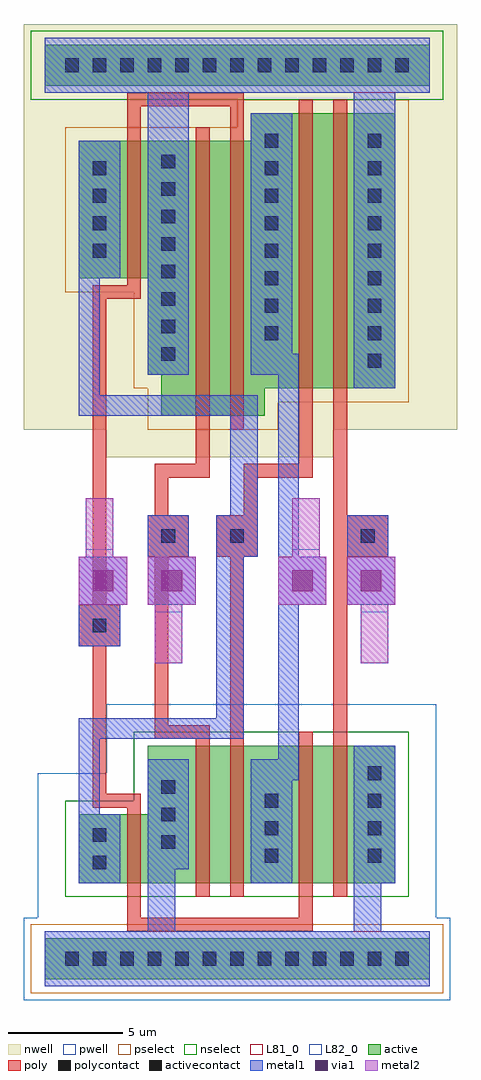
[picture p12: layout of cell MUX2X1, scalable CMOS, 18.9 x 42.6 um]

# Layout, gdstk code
import gdstk
lib = gdstk.Library(unit=1e-6, precision=1e-09)
def R(c, l, rs):  # rectangles x0, y0, x1, y1
    for r in rs: c.add(gdstk.rectangle(r[:2], r[2:], *l))
def A(c, l, x, y, w, h, nx, ny, dx, dy):  # array of equal rectangles
    R(c, l, [(x+i*dx, y+j*dy, x+i*dx+w, y+j*dy+h) for i in range(nx) for j in range(ny)])
pwell = (41, 0)
nwell = (42, 0)
active = (43, 0)
pselect = (44, 0)
nselect = (45, 0)
poly = (46, 0)
polycontact = (47, 0)
activecontact = (48, 0)
metal1 = (49, 0)
via1 = (50, 0)
metal2 = (51, 0)
L81_0 = (81, 0)
L82_0 = (82, 0)

mux2x1 = lib.new_cell('MUX2X1')
R(mux2x1, pwell, [(-1.8,-1.8,16.8,1.8), (-1.2,1.8,16.2,8.1), (1.8,8.1,16.2,11.1)])
R(mux2x1, nwell, [(1.8,21.9,11.7,23.1), (-1.8,23.1,17.1,40.8)])
R(mux2x1, active, [(-0.9,-0.9,15.9,0.9), (0.6,3.3,14.4,6.3), (3.6,6.3,14.4,9.3), (4.2,23.7,8.7,24.9), (4.2,24.9,14.4,25.5), (3.6,25.5,14.4,29.7), (0.6,29.7,14.4,35.7), (8.1,35.7,14.4,36.9), (-0.9,38.1,15.9,39.9)])
R(mux2x1, pselect, [(-1.5,-1.5,16.5,1.5), (3.6,23.1,9.3,24.3), (3.6,24.3,15,24.9), (3,24.9,15,29.1), (0,29.1,15,36.3), (7.5,36.3,15,37.5)])
R(mux2x1, nselect, [(0,2.7,15,6.9), (3,6.9,15,9.9), (-1.5,37.5,16.5,40.5)])
R(mux2x1, poly, [(2.7,1.2,10.8,1.8), (2.7,1.8,3.3,6.6), (10.2,1.8,10.8,9.9), (5.7,2.7,6.3,9.6), (7.2,2.7,7.8,17.55), (11.7,2.7,12.3,17.55), (1.2,6.6,3.3,7.2), (1.2,7.2,1.8,13.65), (3.9,9.6,6.3,10.2), (3.9,10.2,4.5,17.55), (0.6,13.65,2.4,15.45), (1.2,15.45,1.8,28.8), (3.6,17.55,5.4,19.35), (6.6,17.55,8.4,19.35), (11.7,17.55,14.1,19.35), (3.9,19.35,4.5,21), (7.8,19.35,8.4,21), (11.7,19.35,12.3,37.5), (3.9,21,6.3,21.6), (7.8,21,10.8,21.6), (5.7,21.6,6.3,36.3), (10.2,21.6,10.8,37.5), (7.2,23.1,7.8,37.2), (1.2,28.8,3.3,29.4), (2.7,29.4,3.3,37.2), (2.7,37.2,7.8,37.8)])
R(mux2x1, polycontact, [(1.2,14.25,1.8,14.85), (4.2,18.15,4.8,18.75), (7.2,18.15,7.8,18.75), (12.9,18.15,13.5,18.75)])
A(mux2x1, activecontact, 0, -0.3, 0.6, 0.6, 13, 2, 1.2, 39)
A(mux2x1, activecontact, 8.7, 4.2, 0.6, 0.6, 1, 3, 0, 1.2)
A(mux2x1, activecontact, 13.2, 4.2, 0.6, 0.6, 1, 4, 0, 1.2)
A(mux2x1, activecontact, 4.2, 4.8, 0.6, 0.6, 1, 3, 0, 1.2)
A(mux2x1, activecontact, 13.2, 25.8, 0.6, 0.6, 1, 9, 0, 1.2)
A(mux2x1, activecontact, 4.2, 26.1, 0.6, 0.6, 1, 8, 0, 1.2)
A(mux2x1, activecontact, 8.7, 27, 0.6, 0.6, 1, 8, 0, 1.2)
A(mux2x1, activecontact, 1.2, 30.6, 0.6, 0.6, 1, 4, 0, 1.2)
R(mux2x1, activecontact, [(1.2,3.9,1.8,4.5), (1.2,5.1,1.8,5.7)])
R(mux2x1, metal1, [(-0.9,-1.2,15.9,1.2), (3.6,1.2,4.8,3.9), (12.6,1.2,13.8,3.3), (0.6,3.3,2.4,6.3), (8.1,3.3,9.9,7.8), (12.6,3.3,14.4,9.3), (3.6,3.9,5.4,8.7), (0.6,6.3,1.5,9.6), (8.1,7.8,10.2,8.7), (9.3,8.7,10.2,15.45), (0.6,9.6,7.8,10.5), (6.6,10.5,7.8,17.55), (0.6,13.65,2.4,15.45), (0.6,15.45,2.7,17.55), (3.6,15.45,5.7,17.55), (9.3,15.45,11.4,17.55), (12.3,15.45,14.4,17.55), (3.6,17.55,5.4,19.35), (6.6,17.55,8.4,19.35), (9.3,17.55,10.2,25.5), (12.3,17.55,14.1,19.35), (7.2,19.35,8.4,23.7), (0.6,23.7,8.4,24.6), (0.6,24.6,1.5,29.7), (12.6,24.9,14.4,37.8), (3.6,25.5,5.4,37.8), (8.1,25.5,10.2,26.4), (8.1,26.4,9.9,36.9), (0.6,29.7,2.4,35.7), (-0.9,37.8,15.9,40.2)])
R(mux2x1, via1, [(1.2,16.05,2.1,16.95), (4.2,16.05,5.1,16.95), (9.9,16.05,10.8,16.95), (12.9,16.05,13.8,16.95)])
R(mux2x1, metal2, [(3.9,12.9,5.1,15.45), (12.9,12.9,14.1,15.45), (0.6,15.45,2.7,17.55), (3.6,15.45,5.7,17.55), (9.3,15.45,11.4,17.55), (12.3,15.45,14.4,17.55), (0.9,17.55,2.1,20.1), (9.9,17.55,11.1,20.1)])
R(mux2x1, L81_0, [(-0.9,-1.2,15.9,1.2), (-0.9,37.8,15.9,40.2)])
R(mux2x1, L82_0, [(3.9,12.9,5.1,15.15), (12.9,12.9,14.1,15.15), (0.9,17.85,2.1,20.1), (9.9,17.85,11.1,20.1)])

lib.write_gds('MUX2X1.gds')
